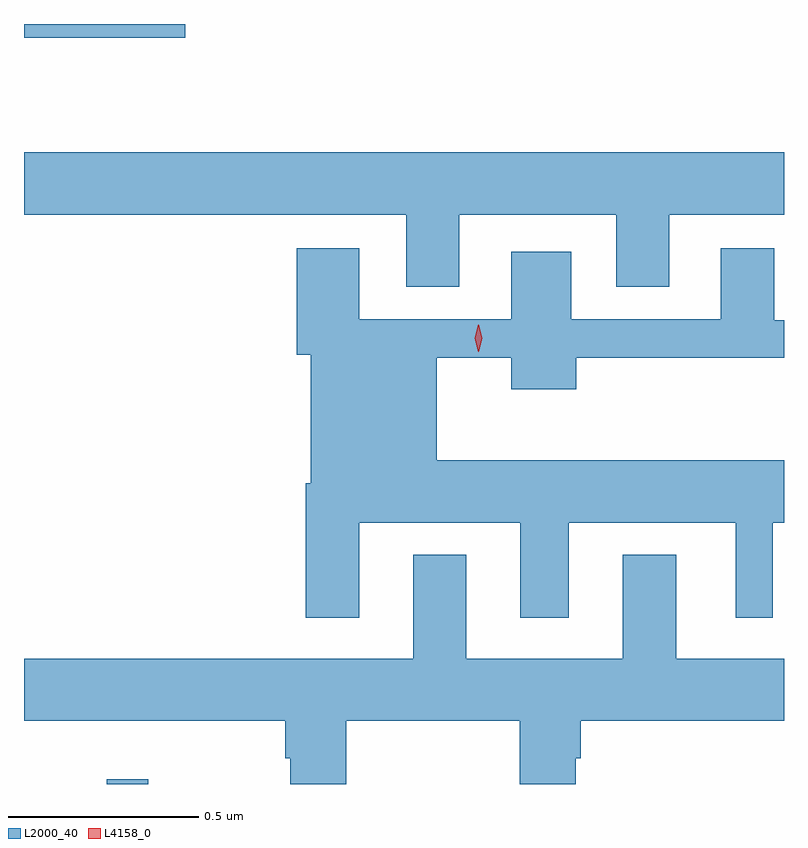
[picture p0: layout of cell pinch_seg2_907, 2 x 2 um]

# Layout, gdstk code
import gdstk
lib = gdstk.Library(unit=1e-6, precision=1e-09)
def R(c, l, rs):  # rectangles x0, y0, x1, y1
    for r in rs: c.add(gdstk.rectangle(r[:2], r[2:], *l))
def P(c, l, *ps):  # polygons
    for p in ps: c.add(gdstk.Polygon(p, *l))
L2000_40 = (2000, 40)
L4158_0 = (4158, 0)

pinch_seg2_907 = lib.new_cell('pinch_seg2_907')
R(pinch_seg2_907, L2000_40, [(406.845,599.518,406.954,599.53), (406.627,601.482,407.051,601.518)])
P(pinch_seg2_907, L2000_40, [(407.773,601.016),(408.185,601.016),(408.185,600.826),(408.325,600.826),(408.325,601.016),(408.627,601.016),(408.627,601.18),(406.627,601.18),(406.627,601.016),(407.633,601.016),(407.633,600.826),(407.773,600.826)],
  [(407.509,600.206),(407.933,600.206),(407.933,599.955),(408.061,599.955),(408.061,600.206),(408.5,600.206),(408.5,599.955),(408.598,599.955),(408.598,600.206),(408.627,600.206),(408.627,600.37),(407.713,600.37),(407.713,600.64),(407.909,600.64),(407.909,600.557),(408.08,600.557),(408.08,600.64),(408.627,600.64),(408.627,600.738),(408.601,600.738),(408.601,600.928),(408.461,600.928),(408.461,600.741),(408.067,600.741),(408.067,600.919),(407.909,600.919),(407.909,600.741),(407.509,600.741),(407.509,600.928),(407.345,600.928),(407.345,600.648),(407.381,600.648),(407.381,600.31),(407.369,600.31),(407.369,599.955),(407.509,599.955)],
  [(407.475,599.684),(407.932,599.684),(407.932,599.518),(408.079,599.518),(408.079,599.586),(408.092,599.586),(408.092,599.684),(408.627,599.684),(408.627,599.848),(408.343,599.848),(408.343,600.121),(408.203,600.121),(408.203,599.848),(407.791,599.848),(407.791,600.121),(407.651,600.121),(407.651,599.848),(406.627,599.848),(406.627,599.684),(407.315,599.684),(407.315,599.586),(407.327,599.586),(407.327,599.518),(407.475,599.518)])
P(pinch_seg2_907, L4158_0, [(407.823,600.656),(407.823,600.656),(407.813,600.691),(407.823,600.726),(407.823,600.726),(407.824,600.726),(407.833,600.691),(407.824,600.656)])

lib.write_gds('pinch_seg2_907.gds')
